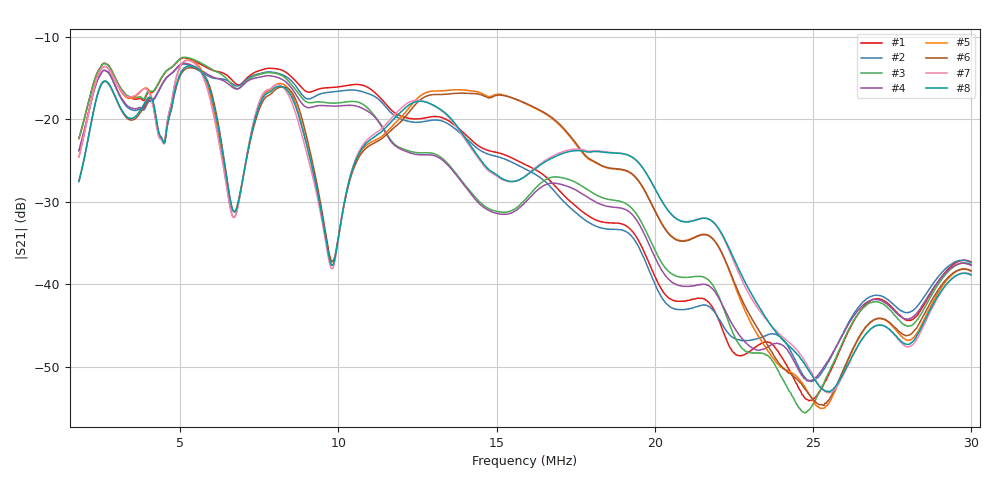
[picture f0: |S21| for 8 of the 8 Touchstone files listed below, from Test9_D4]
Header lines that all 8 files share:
!Agilent Technologies,E5061B,MY49101568,A.02.00
!Data & Calibration Information:
!Freq	S11:SOLT2(OFF)	S21:SOLT2(OFF)	S12:SOLT2(OFF)	S22:SOLT2(OFF)
# Hz S dB R 50
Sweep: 1.8 MHz to 30 MHz
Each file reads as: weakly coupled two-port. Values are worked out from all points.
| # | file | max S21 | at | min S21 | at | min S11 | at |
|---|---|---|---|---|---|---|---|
| 1 | CASE6.S2P | -12.56 dB | 5.123 MHz | -54.1 dB | 24.87 MHz | -36.9 dB | 16.71 MHz |
| 2 | CASE7.S2P | -13.31 dB | 5.123 MHz | -51.8 dB | 24.94 MHz | -36.6 dB | 16.71 MHz |
| 3 | CASE8.S2P | -12.49 dB | 5.123 MHz | -55.6 dB | 24.77 MHz | -39.4 dB | 12.89 MHz |
| 4 | CASE9.S2P | -13.22 dB | 5.123 MHz | -51.7 dB | 24.82 MHz | -37.8 dB | 12.89 MHz |
| 5 | CASE16.S2P | -12.83 dB | 5.246 MHz | -55.0 dB | 25.23 MHz | -54.2 dB | 14.92 MHz |
| 6 | CASE17.S2P | -13.76 dB | 5.294 MHz | -54.7 dB | 25.36 MHz | -53.9 dB | 14.85 MHz |
| 7 | CASE18.S2P | -12.87 dB | 5.221 MHz | -53.1 dB | 25.48 MHz | -28.1 dB | 28.39 MHz |
| 8 | CASE19.S2P | -13.55 dB | 5.294 MHz | -53.0 dB | 25.53 MHz | -28.6 dB | 28.39 MHz |
